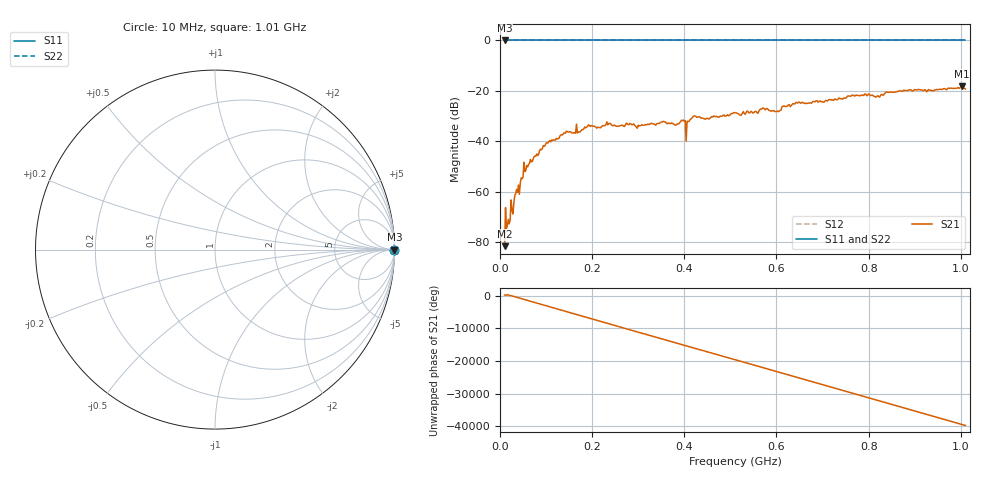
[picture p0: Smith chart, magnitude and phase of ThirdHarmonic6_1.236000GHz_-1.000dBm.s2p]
! 8/16/2025 1:05:49 PM
! C:\ANRITSUVNA\TEMP\TEMP.S2P
! CHANNEL.1
! TR.MEASUREMENT
! RAW.DATA
! RF.CORRECTION.OFF
! AVERAGING.OFF
! IF.BANDWIDTH: 5KHZ
! SWEEPTYPE:  FREQ.SWEEP(Linear)
! Reference Plane Port Info
! PORT:  PORT1  PORT2
! DISTANCE:  0  m  0  m
! TIME:  0  s  0  s
! PHASE.OFFSET:  0  deg.  0  deg.
! LOSS:  0  dB  0  dB
! REF.LOSS:  0  dB  0  dB
! REF.FREQ:  0  Hz  0  Hz
! Power Info
! POWER:  -20  dBm  -20  dBm
! EFF.POWER:  -20  dBm  -20  dBm
! SOURCE.ATTEN:  0  dB  0  dB
! TEST.ATTEN:  0  dB  0  dB
# GHZ S RI R 50.0
! FREQ.GHZ  S11RE  S11IM  S21RE  S21IM  S12RE  S12IM  S22RE  S22IM
!; PortSelection: Port_12
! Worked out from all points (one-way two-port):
!   501 points, 10 MHz to 1.01 GHz, reference 50 ohm
!   highest |S21| = -18.27 dB at 1.002 GHz (marker M1); lowest = -81.6 dB at 10 MHz (marker M2)
!   lowest |S11| = 0.0 dB at 10 MHz (marker M3)
!   |S11| at or under -10 dB: nowhere
!   |S22| runs from 0.0 to 0.0 dB; largest |S21 - S12| = 1.1
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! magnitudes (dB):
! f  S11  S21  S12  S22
! 10 MHz  0.0  -81.6  0.0  0.0
! 16 MHz  0.0  -73.3  0.0  0.0
! 18 MHz  0.0  -71.0  0.0  0.0
! 36 MHz  0.0  -59.1  0.0  0.0
! 56 MHz  0.0  -51.6  0.0  0.0
! 104 MHz  0.0  -40.7  0.0  0.0
! 142 MHz  0.0  -36.8  0.0  0.0
! 178 MHz  0.0  -35.4  0.0  0.0
! 236 MHz  0.0  -32.9  0.0  0.0
! 344 MHz  0.0  -33.0  0.0  0.0
! 398 MHz  0.0  -31.6  0.0  0.0
! 406 MHz  0.0  -32.1  0.0  0.0
! 422 MHz  0.0  -30.0  0.0  0.0
! 450 MHz  0.0  -30.9  0.0  0.0
! 510 MHz  0.0  -28.7  0.0  0.0
! 570 MHz  0.0  -26.8  0.0  0.0
! 602 MHz  0.0  -28.0  0.0  0.0
! 646 MHz  0.0  -24.9  0.0  0.0
! 678 MHz  0.0  -24.4  0.0  0.0
! 844 MHz  0.0  -20.5  0.0  0.0
! 1.002 GHz  0.0  -18.3  0.0  0.0
! 1.01 GHz  0.0  -19.3  0.0  0.0
